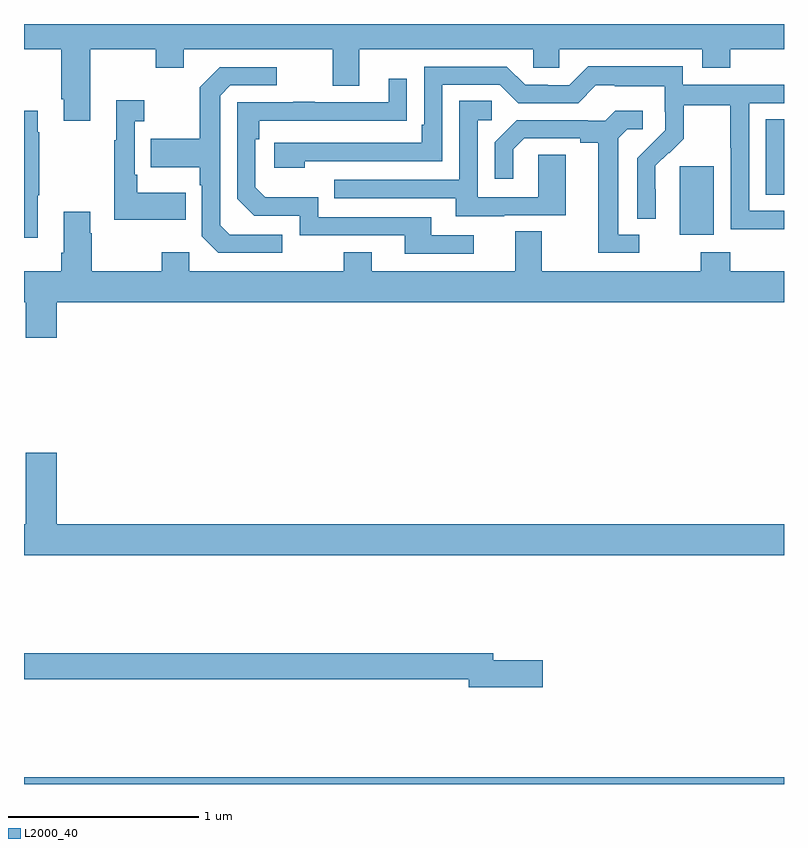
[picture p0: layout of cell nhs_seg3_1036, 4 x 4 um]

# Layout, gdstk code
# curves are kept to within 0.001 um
import gdstk
lib = gdstk.Library(unit=1e-6, precision=1e-09)
def R(c, l, rs):  # rectangles x0, y0, x1, y1
    for r in rs: c.add(gdstk.rectangle(r[:2], r[2:], *l))
def P(c, l, *ps):  # polygons
    for p in ps: c.add(gdstk.Polygon(p, *l))
L2000_40 = (2000, 40)

nhs_seg3_1036 = lib.new_cell('nhs_seg3_1036')
R(nhs_seg3_1036, L2000_40, [(165,678.4,169,678.436), (168.452,681.29,168.631,681.651), (168.905,681.502,169,681.899)])
P(nhs_seg3_1036, L2000_40, [(168.569,682.169),(168.717,682.169),(168.717,682.268),(169,682.268),(169,682.4),(165,682.4),(165,682.268),(165.197,682.268),(165.197,682.003),(165.209,682.003),(165.209,681.891),(165.349,681.891),(165.349,682.268),(165.694,682.268),(165.694,682.169),(165.841,682.169),(165.841,682.268),(166.625,682.268),(166.625,682.074),(166.765,682.074),(166.765,682.268),(167.679,682.268),(167.679,682.17),(167.817,682.17),(167.817,682.268),(168.569,682.268)],
  [(169,681.417),(168.816,681.417),(168.816,681.984),(169,681.984),(169,682.08),(168.468,682.08),(168.468,682.177),(167.971,682.177),(167.871,682.077),(167.756,682.077),(167.756,682.08),(167.637,682.08),(167.541,682.176),(167.106,682.176),(167.106,681.871),(167.093,681.871),(167.093,681.774),(166.317,681.774),(166.317,681.644),(166.478,681.644),(166.478,681.678),(167.202,681.678),(167.202,682.08),(167.505,682.08),(167.601,681.984),(167.916,681.984),(168.009,682.077),(168.109,682.077),(168.109,682.073),(168.372,682.073),(168.372,681.939),(168.374,681.939),(168.374,681.842),(168.228,681.694),(168.228,681.376),(168.324,681.376),(168.323,681.653),(168.393,681.723),(168.396,681.72),(168.473,681.797),(168.473,681.972),(168.718,681.972),(168.718,681.748),(168.72,681.748),(168.72,681.319),(169,681.319)],
  [(166.36,681.291),(166.083,681.291),(166.032,681.342),(166.032,682.023),(166.086,682.077),(166.33,682.077),(166.33,682.173),(166.029,682.173),(165.924,682.067),(165.924,681.795),(165.667,681.795),(165.667,681.647),(165.924,681.647),(165.924,681.551),(165.936,681.551),(165.936,681.282),(166.023,681.195),(166.36,681.195)],
  [(167.368,681.288),(167.143,681.288),(167.143,681.384),(166.548,681.384),(166.548,681.487),(166.271,681.487),(166.218,681.54),(166.218,681.794),(166.238,681.794),(166.238,681.891),(167.015,681.892),(167.015,682.111),(166.919,682.111),(166.919,681.987),(166.529,681.987),(166.529,681.992),(166.417,681.992),(166.417,681.987),(166.122,681.987),(166.122,681.48),(166.212,681.39),(166.452,681.39),(166.452,681.288),(167.003,681.288),(167.003,681.192),(167.368,681.192)],
  [(165.851,681.511),(165.595,681.511),(165.595,681.607),(165.582,681.607),(165.582,681.887),(165.634,681.887),(165.634,682),(165.485,682),(165.485,681.787),(165.474,681.787),(165.474,681.371),(165.851,681.371)],
  [(167.527,681.393),(167.851,681.393),(167.851,681.713),(167.706,681.713),(167.706,681.489),(167.388,681.489),(167.388,681.894),(167.461,681.894),(167.461,681.995),(167.292,681.995),(167.292,681.579),(166.633,681.579),(166.633,681.483),(167.273,681.483),(167.273,681.389),(167.527,681.389)],
  [(165.073,681.499),(165.081,681.499),(165.081,681.83),(165.073,681.83),(165.073,681.943),(165,681.943),(165,681.276),(165.073,681.276)],
  [(168.238,681.291),(168.127,681.291),(168.127,681.799),(168.174,681.846),(168.256,681.846),(168.256,681.943),(168.112,681.943),(168.06,681.891),(167.966,681.891),(167.966,681.894),(167.594,681.894),(167.478,681.778),(167.478,681.585),(167.575,681.585),(167.575,681.741),(167.632,681.798),(167.927,681.798),(167.927,681.776),(168.023,681.776),(168.023,681.195),(168.238,681.195)],
  [(165.172,680.936),(169,680.936),(169,681.1),(168.717,681.1),(168.717,681.199),(168.562,681.199),(168.562,681.1),(167.725,681.1),(167.725,681.308),(167.585,681.308),(167.585,681.1),(166.831,681.1),(166.831,681.199),(166.684,681.199),(166.684,681.1),(165.87,681.1),(165.87,681.199),(165.724,681.199),(165.724,681.1),(165.357,681.1),(165.357,681.299),(165.349,681.299),(165.349,681.412),(165.209,681.412),(165.209,681.196),(165.197,681.196),(165.197,681.1),(165,681.1),(165,680.936),(165.008,680.936),(165.008,680.748),(165.172,680.748)],
  [(169,679.768),(165.172,679.768),(165.172,680.143),(165.008,680.143),(165.008,679.768),(165,679.768),(165,679.604),(169,679.604)],
  [(167.731,679.052),(167.47,679.052),(167.47,679.088),(165,679.088),(165,678.952),(167.342,678.952),(167.342,678.91),(167.731,678.91)])

lib.write_gds('nhs_seg3_1036.gds')
